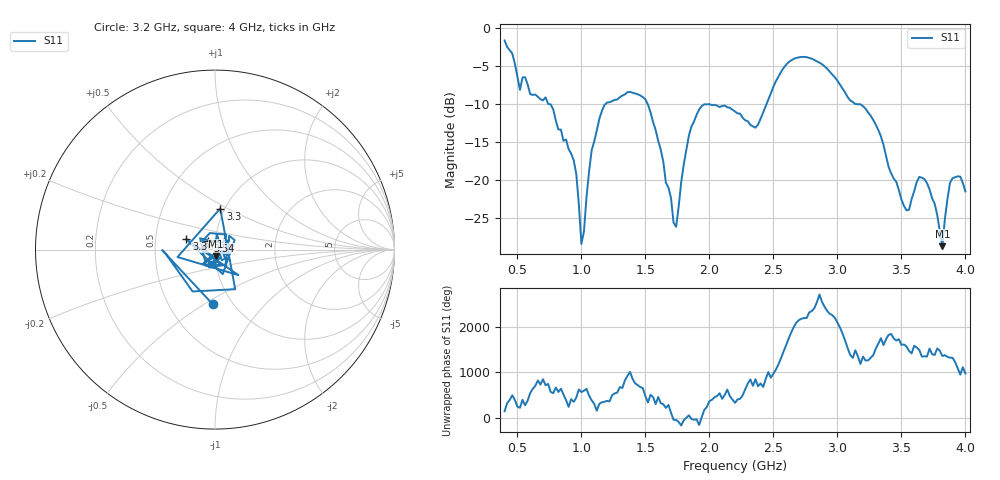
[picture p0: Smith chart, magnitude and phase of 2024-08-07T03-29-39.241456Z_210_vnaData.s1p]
!Created with skrf (http://scikit-rf.org).
# Hz S RI R 50.0
!freq ReS11 ImS11
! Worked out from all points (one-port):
!   181 points, 400 MHz to 4 GHz, reference 50 ohm
!   lowest |S11| = -28.7 dB at 3.82 GHz (marker M1), VSWR 1.08, Z = 50.5 - j3.65 ohm
!   |S11| at or under -10 dB: 741.1 MHz to 1.19 GHz (448.5 MHz wide, 46.5 % of centre); 1.517 GHz to 2.447 GHz (929.8 MHz wide, 46.9 % of centre); 3.139 GHz to end of sweep
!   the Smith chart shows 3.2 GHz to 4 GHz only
!   S11 on the Smith chart (normalised r, x): 3.2 GHz: 0.81, -0.55; 3.3 GHz: 0.95, +0.46; 3.36 GHz: 0.72, +0.09; 3.54 GHz: 0.92, +0.09; 4 GHz: 0.95, -0.16
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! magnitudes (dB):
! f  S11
! 400 MHz  -1.6
! 520 MHz  -8.2
! 720 MHz  -9.1
! 860 MHz  -14.9
! 960 MHz  -19.2
! 1 GHz  -28.4
! 1.08 GHz  -16.1
! 1.14 GHz  -12.0
! 1.3 GHz  -9.1
! 1.5 GHz  -9.4
! 1.62 GHz  -16.0
! 1.72 GHz  -25.6
! 1.76 GHz  -23.5
! 1.84 GHz  -14.1
! 1.92 GHz  -10.7
! 2.2 GHz  -11.0
! 2.36 GHz  -13.1
! 2.66 GHz  -4.1
! 3.1 GHz  -9.5
! 3.2 GHz  -10.3
! 3.3 GHz  -12.7
! 3.36 GHz  -15.4
! 3.54 GHz  -24.0
! 3.56 GHz  -23.9
! 3.68 GHz  -19.9
! 3.82 GHz  -28.7
! 3.88 GHz  -20.4
! 4 GHz  -21.5
